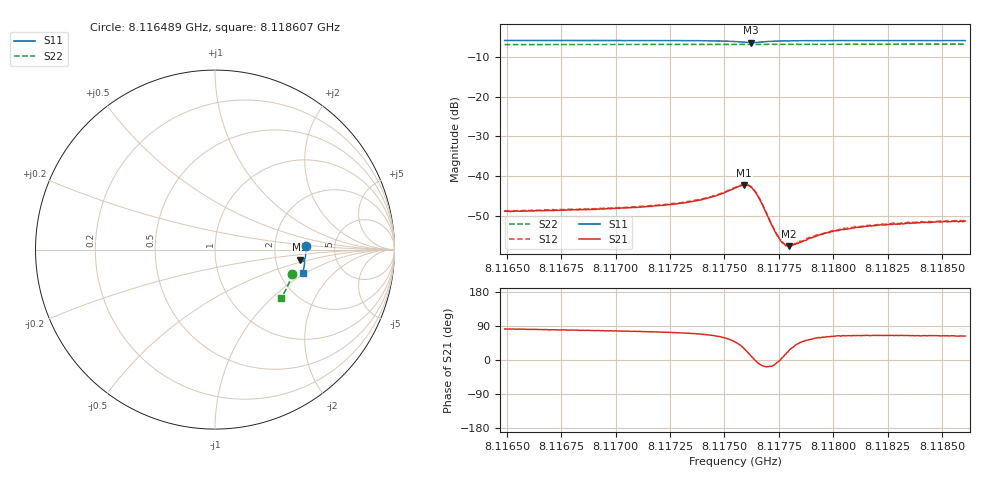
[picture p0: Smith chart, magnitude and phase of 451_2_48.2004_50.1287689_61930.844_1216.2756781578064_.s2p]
#  HZ  S  RI  R  50.00
! Rohde & Schwarz Vector Network Analyzer
! Rohde-Schwarz,ZNB20-2Port,1311601062101988,3.16
! Created: UTC 3/20/2024, 11:56:14 AM
! freq[Hz]  re:S11  im:S11  re:S21  im:S21  re:S12  im:S12  re:S22  im:S22
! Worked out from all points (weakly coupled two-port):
!   401 points, 8.116489 GHz to 8.118607 GHz, reference 50 ohm
!   highest |S21| = -42.25 dB at 8.117591 GHz (marker M1); lowest = -57.6 dB at 8.117797 GHz (marker M2)
!   lowest |S11| = -6.4 dB at 8.117622 GHz (marker M3), VSWR 2.82, Z = 138 - j19.8 ohm
!   |S11| at or under -10 dB: nowhere
!   |S22| runs from -6.9 to -6.8 dB; largest |S21 - S12| = 0.00022
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8.1164894e9  0.5067 0.0225  0.000505 0.00358  0.000523 0.00362  0.4296 -0.1343
8.1168441e9  0.5065 -0.00474  0.00076 0.00371  0.000806 0.00375  0.4224 -0.158
8.1171989e9  0.5046 -0.0329  0.0012 0.00408  0.00127 0.00416  0.4141 -0.1812
8.11731e9  0.503 -0.0427  0.00146 0.00434  0.00154 0.00444  0.4113 -0.1885
8.1173947e9  0.5011 -0.0507  0.0019 0.00466  0.00195 0.00477  0.4089 -0.1939
8.1174689e9  0.4974 -0.0586  0.00266 0.00511  0.00275 0.00518  0.4065 -0.1988
8.1175483e9  0.4875 -0.0667  0.00477 0.00524  0.00482 0.00528  0.4037 -0.2039
8.1175906e9  0.4773 -0.0648  0.00669 0.00385  0.00689 0.00388  0.402 -0.2062
8.1176065e9  0.4741 -0.061  0.00716 0.00268  0.00733 0.00273  0.4017 -0.207
8.1176224e9  0.4732 -0.0557  0.00709 0.0013  0.00728 0.00128  0.4011 -0.2078
8.1176383e9  0.4752 -0.0507  0.00647 3.27e-05  0.0066 3.7e-05  0.4011 -0.2085
8.1176594e9  0.4805 -0.0468  0.00514 -0.00091  0.00523 -0.000961  0.4005 -0.2097
8.117723e9  0.4937 -0.051  0.00218 -0.000575  0.00222 -0.000571  0.3993 -0.2137
8.1177442e9  0.4958 -0.054  0.00174 -0.000172  0.00179 -0.00021  0.3988 -0.2153
8.1177706e9  0.4973 -0.0575  0.0014 0.00021  0.00144 0.000227  0.398 -0.2169
8.1177971e9  0.4983 -0.0609  0.00119 0.000566  0.00123 0.000547  0.3972 -0.2186
8.1178183e9  0.4987 -0.0634  0.00112 0.000789  0.00114 0.000805  0.3966 -0.2201
8.117903e9  0.499 -0.0723  0.000957 0.00138  0.000977 0.0014  0.3939 -0.2254
8.1179983e9  0.4984 -0.081  0.000926 0.00178  0.00094 0.00183  0.3908 -0.2313
8.1180618e9  0.4976 -0.0864  0.000931 0.00193  0.000984 0.00197  0.3886 -0.2354
8.1182577e9  0.4948 -0.102  0.00104 0.00224  0.00107 0.00228  0.3818 -0.2473
8.1186071e9  0.4885 -0.1282  0.00123 0.00242  0.00129 0.00245  0.3689 -0.2682
